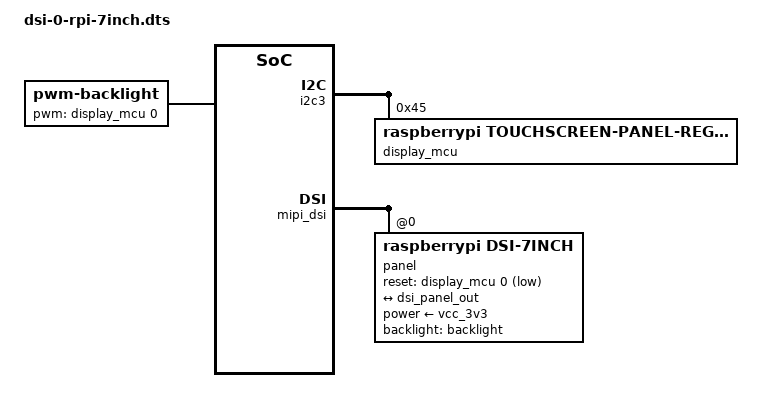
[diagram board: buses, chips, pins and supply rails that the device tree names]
// SPDX-License-Identifier: (GPL-2.0-or-later OR MIT)
/*
 * Copyright (C) 2026 Libre Computer, Inc.
 */
/*
 * Summary: Raspberry Pi Touch Display 2 on DSI connector 0
 *
 * Requires: dsi-0 i2c-3
 *
 * Resource-requires: bus:mipi_dsi, bus:i2c3
 * Resource-provides: i2c:i2c3@0x45, label:backlight
 *
 * Notes:
 *   V01 only. The panel MCU at I2C 0x45 owns reset and the backlight
 *   PWM. Connector I2C is I2C_M3 on pins 20 and 21, which are header
 *   pins 27 and 28. H40P_I2C_1 (i2c-3) owns that mux. This fragment
 *   does not. Power is VCC_3V3 on connector pins 22 and 23.
 *   Lane count is the raspberrypi,dsi-7inch driver descriptor (2).
 *   Connector pin 17 is GPIOA_10 and pin 18 is GPIOA_13. Neither
 *   is claimed.
 */
/dts-v1/;
/plugin/;

#include <dt-bindings/gpio/gpio.h>

/ {
	compatible = "libre-computer,aml-a311d-cc-v01",
		"libretech,aml-a311d-cc-v01",
		"libre-computer,aml-s905d3-cc-v01",
		"libretech,aml-s905d3-cc-v01";

	fragment@0 {
		target = <&i2c3>;

		__overlay__ {
			display_mcu: regulator@45 {
				compatible = "raspberrypi,touchscreen-panel-regulator-v2";
				reg = <0x45>;
				gpio-controller;
				#gpio-cells = <2>;
				#pwm-cells = <3>;
			};
		};
	};

	fragment@1 {
		target-path = "/";

		__overlay__ {
			backlight: backlight {
				compatible = "pwm-backlight";
				pwms = <&display_mcu 0 200000 0>;
				brightness-levels = <0 31>;
				num-interpolated-steps = <31>;
				default-brightness-level = <15>;
			};
		};
	};

	fragment@2 {
		target = <&mipi_dsi>;

		__overlay__ {
			#address-cells = <1>;
			#size-cells = <0>;

			panel@0 {
				compatible = "raspberrypi,dsi-7inch", "ilitek,ili9881c";
				reg = <0>;
				power-supply = <&vcc_3v3>;
				reset-gpios = <&display_mcu 0 GPIO_ACTIVE_LOW>;
				backlight = <&backlight>;

				port {
					panel_in: endpoint {
						remote-endpoint = <&dsi_panel_out>;
					};
				};
			};
		};
	};

	fragment@3 {
		target = <&mipi_dsi_panel_port>;

		__overlay__ {
			dsi_panel_out: endpoint {
				remote-endpoint = <&panel_in>;
			};
		};
	};
};
